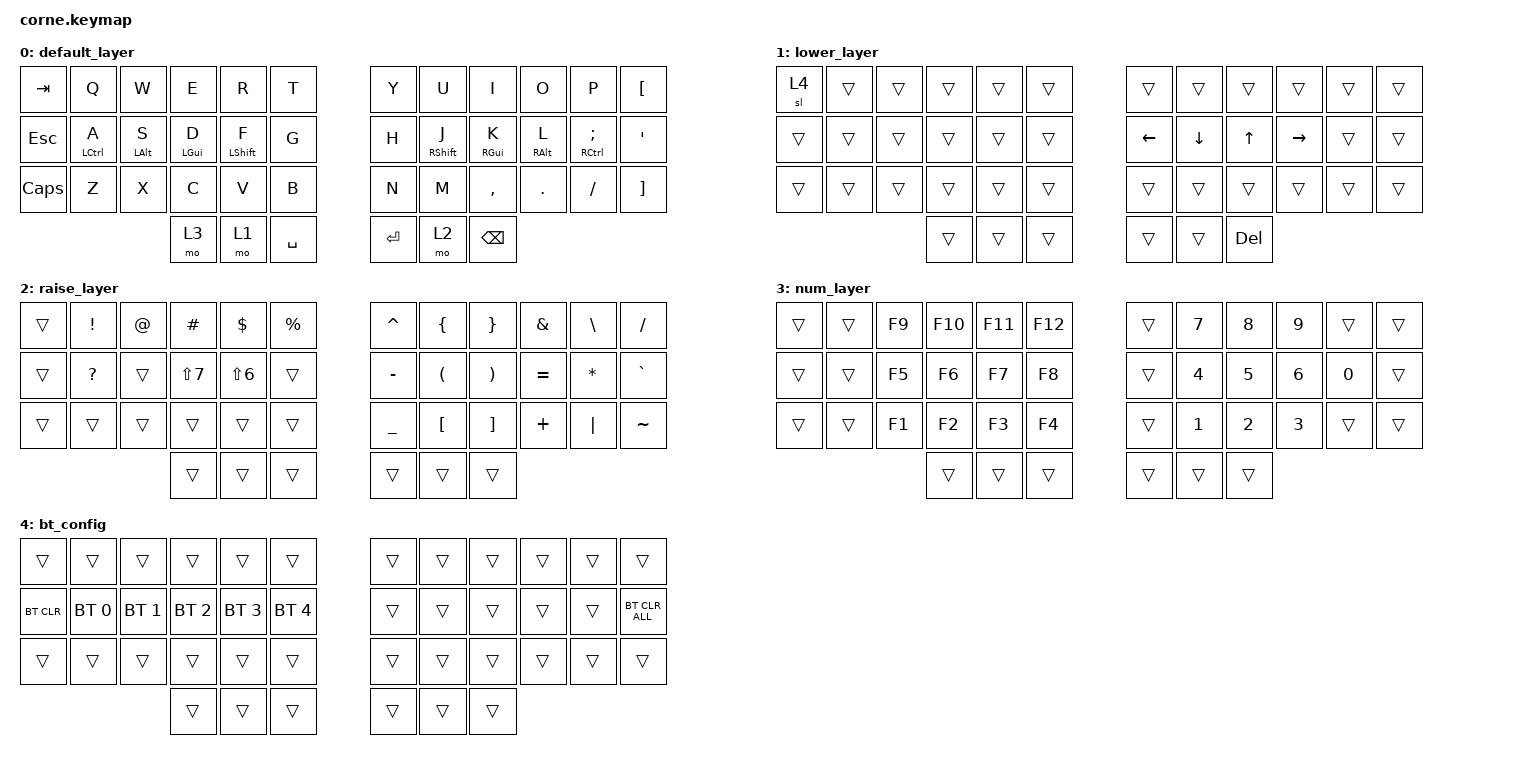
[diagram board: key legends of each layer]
/*
 * Copyright (c) 2020 The ZMK Contributors
 *
 * SPDX-License-Identifier: MIT
 */

#include <behaviors.dtsi>
#include <dt-bindings/zmk/bt.h>
#include <dt-bindings/zmk/keys.h>

/ {
    combos {
        compatible = "zmk,combos";

        combo_esc {
            timeout-ms = <50>;
            key-positions = <0 1>;
            bindings = <&kp ESC>;
        };
    };

    behaviors {
        ss_hs_modmorph: ss_hs_modmorph {
            compatible = "zmk,behavior-mod-morph";
            label = "SS_HS_MODMORPH";
            bindings = <&kp M>, <&kp RIGHT_BRACKET>;

            #binding-cells = <0>;
            mods = <(MOD_LSFT|MOD_RSFT)>;
        };

        kh_hs_tapdance: kh_hs_tapdance {
            compatible = "zmk,behavior-tap-dance";
            label = "KH_HS_TAPDANCE";
            #binding-cells = <0>;
            tapping-term-ms = <200>;
            bindings = <&kp LEFT_BRACKET>, <&kp RIGHT_BRACKET>;
        };

        hrm: hrm {
            compatible = "zmk,behavior-hold-tap";
            #binding-cells = <2>;
            flavor = "tap-preferred";
            tapping-term-ms = <150>;
            quick-tap-ms = <200>;
            require-prior-idle-ms = <100>;
            bindings = <&kp>, <&kp>;
        };
    };

    keymap {
        compatible = "zmk,keymap";

        default_layer {
            // -----------------------------------------------------------------------------------------
            // |  TAB |  Q  |  W  |  E  |  R  |  T  |   |  Y  |  U   |  I  |  O  |  P  | BKSP |
            // | CTRL |  A  |  S  |  D  |  F  |  G  |   |  H  |  J   |  K  |  L  |  ;  |  '   |
            // | SHFT |  Z  |  X  |  C  |  V  |  B  |   |  N  |  M   |  ,  |  .  |  /  | ESC  |
            //                    | GUI | LWR | SPC |   | ENT | RSE  | ALT |

            bindings = <
&kp TAB       &kp Q         &kp W        &kp E        &kp R          &kp T        &kp Y       &kp U          &kp I          &kp O        &kp P            &kp LEFT_BRACKET
&kp ESC       &hrm LCTRL A  &hrm LALT S  &hrm LGUI D  &hrm LSHIFT F  &kp G        &kp H       &hrm RSHIFT J  &hrm RGUI K    &hrm RALT L  &hrm RCTRL SEMI  &kp SQT
&kp CAPSLOCK  &kp Z         &kp X        &kp C        &kp V          &kp B        &kp N       &kp M          &kp COMMA      &kp DOT      &kp FSLH         &kp RIGHT_BRACKET
                                         &mo 3        &mo 1          &kp SPACE    &kp RETURN  &mo 2          &kp BACKSPACE
            >;
        };

        lower_layer {
            // -----------------------------------------------------------------------------------------
            // |  TAB |  1  |  2  |  3  |  4  |  5  |   |  6  |  7  |  8  |  9  |  0  | BKSP |
            // | BTCLR| BT1 | BT2 | BT3 | BT4 | BT5 |   | LFT | DWN |  UP | RGT |     |      |
            // | SHFT |     |     |     |     |     |   |     |     |     |     |     |      |
            //                    | GUI |     | SPC |   | ENT |     | ALT |

            bindings = <
&sl 4   &trans  &trans  &trans  &trans  &trans    &trans    &trans    &trans   &trans     &trans  &trans
&trans  &trans  &trans  &trans  &trans  &trans    &kp LEFT  &kp DOWN  &kp UP   &kp RIGHT  &trans  &trans
&trans  &trans  &trans  &trans  &trans  &trans    &trans    &trans    &trans   &trans     &trans  &trans
                        &trans  &trans  &trans    &trans    &trans    &kp DEL
            >;
        };

        raise_layer {
            // -----------------------------------------------------------------------------------------
            // |  TAB |  !  |  @  |  #  |  $  |  %  |   |  ^  |  &  |  *  |  (  |  )  | BKSP |
            // | CTRL |     |     |     |     |     |   |  -  |  =  |  [  |  ]  |  \  |  `   |
            // | SHFT |     |     |     |     |     |   |  _  |  +  |  {  |  }  | "|" |  ~   |
            //                    | GUI |     | SPC |   | ENT |     | ALT |

            bindings = <
&trans  &kp EXCL      &kp AT  &kp HASH    &kp DLLR    &kp PRCNT    &kp CARET  &kp LBRC  &kp RBRC  &kp AMPS   &kp BSLH      &kp SLASH
&trans  &kp QUESTION  &trans  &kp LS(N7)  &kp LS(N6)  &trans       &kp MINUS  &kp LPAR  &kp RPAR  &kp EQUAL  &kp ASTERISK  &kp GRAVE
&trans  &trans        &trans  &trans      &trans      &trans       &kp UNDER  &kp LBKT  &kp RBKT  &kp PLUS   &kp PIPE      &kp TILDE
                              &trans      &trans      &trans       &trans     &trans    &trans
            >;
        };

        num_layer {
            bindings = <
&trans  &trans  &kp F9  &kp F10  &kp F11  &kp F12    &trans  &kp NUMBER_7  &kp N8        &kp N9        &trans        &trans
&trans  &trans  &kp F5  &kp F6   &kp F7   &kp F8     &trans  &kp NUMBER_4  &kp NUMBER_5  &kp NUMBER_6  &kp NUMBER_0  &trans
&trans  &trans  &kp F1  &kp F2   &kp F3   &kp F4     &trans  &kp NUMBER_1  &kp NUMBER_2  &kp NUMBER_3  &trans        &trans
                        &trans   &trans   &trans     &trans  &trans        &trans
            >;
        };

        bt_config {
            bindings = <
&trans      &trans        &trans        &trans        &trans        &trans          &trans  &trans  &trans  &trans  &trans  &trans
&bt BT_CLR  &bt BT_SEL 0  &bt BT_SEL 1  &bt BT_SEL 2  &bt BT_SEL 3  &bt BT_SEL 4    &trans  &trans  &trans  &trans  &trans  &bt BT_CLR_ALL
&trans      &trans        &trans        &trans        &trans        &trans          &trans  &trans  &trans  &trans  &trans  &trans
                                        &trans        &trans        &trans          &trans  &trans  &trans
            >;
        };
    };
};
